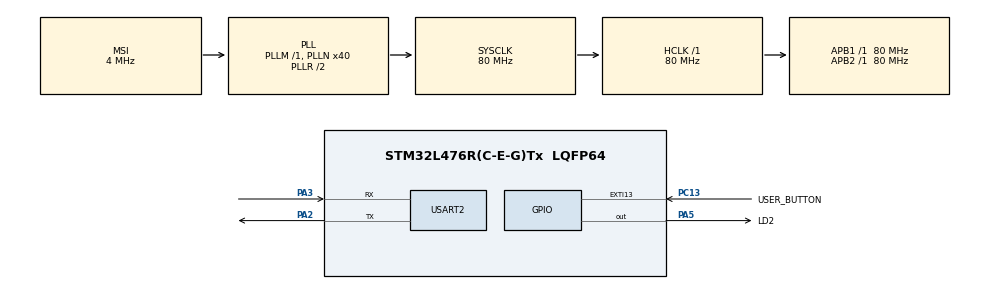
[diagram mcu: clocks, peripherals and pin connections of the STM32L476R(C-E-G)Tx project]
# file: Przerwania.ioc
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Mcu.Family=STM32L4
Mcu.Name=STM32L476R(C-E-G)Tx
Mcu.Package=LQFP64
NVIC.EXTI15_10_IRQn=true\:8\:0\:true\:false\:true\:true\:true\:true
NVIC.PriorityGroup=NVIC_PRIORITYGROUP_4
NVIC.USART2_IRQn=true\:12\:0\:true\:false\:true\:true\:true\:true
PA13\ (JTMS-SWDIO).Mode=Serial_Wire
PA13\ (JTMS-SWDIO).Signal=SYS_JTMS-SWDIO
PA14\ (JTCK-SWCLK).Mode=Serial_Wire
PA14\ (JTCK-SWCLK).Signal=SYS_JTCK-SWCLK
PA2.Mode=Asynchronous
PA2.Signal=USART2_TX
PA3.Mode=Asynchronous
PA3.Signal=USART2_RX
PA5.GPIO_Label=LD2
PA5.Signal=GPIO_Output
PC13.GPIO_Label=USER_BUTTON
PC13.GPIO_ModeDefaultEXTI=GPIO_MODE_IT_FALLING
PC13.Signal=GPXTI13
ProjectManager.HeapSize=0x200
ProjectManager.StackSize=0x400
ProjectManager.TargetToolchain=STM32CubeIDE
RCC.AHBFreq_Value=80000000
RCC.APB1Freq_Value=80000000
RCC.APB1TimFreq_Value=80000000
RCC.APB2Freq_Value=80000000
RCC.APB2TimFreq_Value=80000000
RCC.CortexFreq_Value=80000000
RCC.HCLKFreq_Value=80000000
RCC.HSE_VALUE=8000000
RCC.HSI_VALUE=16000000
RCC.MSI_VALUE=4000000
RCC.PLLN=40
RCC.SYSCLKFreq_VALUE=80000000
RCC.SYSCLKSource=RCC_SYSCLKSOURCE_PLLCLK
RCC.VCOOutputFreq_Value=160000000
USART2.VirtualMode-Asynchronous=VM_ASYNC
board=custom

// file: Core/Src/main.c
/* USER CODE BEGIN Header */
/**
  ******************************************************************************
  * @file           : main.c
  * @brief          : Main program body
  ******************************************************************************
  * @attention
  *
  * Copyright (c) 2024 STMicroelectronics.
  * All rights reserved.
  *
  * This software is licensed under terms that can be found in the LICENSE file
  * in the root directory of this software component.
  * If no LICENSE file comes with this software, it is provided AS-IS.
  *
  ******************************************************************************
  */
/* USER CODE END Header */
#include "main.h"

/* USER CODE BEGIN Includes */
#include <stdio.h>

/* USER CODE END Includes */

UART_HandleTypeDef huart2;

void SystemClock_Config(void);
static void MX_GPIO_Init(void);
static void MX_USART2_UART_Init(void);

/* USER CODE BEGIN 0 */
volatile uint32_t push_counter;

void HAL_GPIO_EXTI_Callback(uint16_t GPIO_Pin)
{
  if (GPIO_Pin == USER_BUTTON_Pin) {
    push_counter++;
    printf("counter = %lu\n", push_counter);

    //niepoprawna funkcja w przerwaniu, zawiesza działanie całego procesora
    //HAL_Delay(100);

    //próbujemy więc inaczej. Niby działa, ale zawiesza też inne przerwania - doda LD2 przestaje na chwilę migać
    volatile uint32_t delay;
        for (delay = 0; delay < 1000000; delay++);

    // zmieniamy więc prirytet przerwań zegara systemowego i przycisku
  }
}

int __io_putchar(int ch)
{
  if (ch == '\n') {
    __io_putchar('\r');
  }

  HAL_UART_Transmit(&huart2, (uint8_t*)&ch, 1, HAL_MAX_DELAY);

  return 1;
}

//wywołanie funkcji przy końcu tranmisji UART, przy ostatnim bajcie transmisji
void HAL_UART_TxCpltCallback(UART_HandleTypeDef *huart)
{
	//można by dać tu flagę, która poinformuje o zakończeniu trasmisji,
	//by móc rozpocząc następną transmisję, ale to równiez jest zła metoda

	//
	if (huart == &huart2) { //tu sprawdzenie czy na pewno jest to przerwanie od USART2
	    send_next_message();
	  }

}

typedef enum {
  MESSAGE_1,
  MESSAGE_2,
  DONE
}sender_state;

sender_state message_number = MESSAGE_1;

void send_next_message(void)
{
  static char message[] = "Hello World!\r\n";
  static char message2[] = "Forbot jest super!\r\n";

  switch (message_number)
  {
  case MESSAGE_1:
    HAL_UART_Transmit_IT(&huart2, (uint8_t*)message, strlen(message));
    message_number = MESSAGE_2;
    break;
  case MESSAGE_2:
    HAL_UART_Transmit_IT(&huart2, (uint8_t*)message2, strlen(message2));
    message_number = DONE;
    break;
  default:
    break;
  }
}

//problemy z buforem jeśli zmienne message będą bez atrybutu static
void test() {
  volatile char x[] = "abcdefghijkmnopq";
  //USART pracuje w pezerwaniu więc taka zmienan lokalna,
  //która juuż ie jest na stosie i zostaje zwolniona, może zaburzyć działanie kodu
  //dlatego do transmisji nalezy używać jedynie zmiennych globalnych bądź statycznych
}

//odbieranie danych
#define LINE_MAX_LENGTH 80

static char line_buffer[LINE_MAX_LENGTH + 1];
static uint32_t line_length;

void line_append(uint8_t value)
{
  if (value == '\r' || value == '\n') {
    // odebraliśmy znak końca linii
    if (line_length > 0) {
      // dodajemy 0 na końcu linii
      line_buffer[line_length] = '\0';
      // przetwarzamy dane
      if (strcmp(line_buffer, "on") == 0) {
        HAL_GPIO_WritePin(LD2_GPIO_Port, LD2_Pin, GPIO_PIN_SET);
      } else if (strcmp(line_buffer, "off") == 0) {
        HAL_GPIO_WritePin(LD2_GPIO_Port, LD2_Pin, GPIO_PIN_RESET);
      }

      // zaczynamy zbieranie danych od nowa
      line_length = 0;
    }
  }
  else {
    if (line_length >= LINE_MAX_LENGTH) {
      // za dużo danych, usuwamy wszystko co odebraliśmy dotychczas
      line_length = 0;
    }
    // dopisujemy wartość do bufora
    line_buffer[line_length++] = value;
  }
}

//oraz obsługa przerwania
uint8_t uart_rx_buffer;

void HAL_UART_RxCpltCallback(UART_HandleTypeDef *huart)
{
  if (huart == &huart2) { //sprawdzenie linii USART
    line_append(uart_rx_buffer);
    HAL_UART_Receive_IT(&huart2, &uart_rx_buffer, 1);
  }
}

/* USER CODE END 0 */

int main(void)
{

  /* MCU Configuration--------------------------------------------------------*/

  /* Reset of all peripherals, Initializes the Flash interface and the Systick. */
  HAL_Init();

  /* Configure the system clock */
  SystemClock_Config();

  /* Initialize all configured peripherals */
  MX_GPIO_Init();
  MX_USART2_UART_Init();
  /* USER CODE BEGIN 2 */

  /*
  // przerwanie na UART, funkcja szybciej konczy swoje działanie
  //i wysyła dane w tle przy pomocy przerwań, nie zatrzymując działania programu
  char message[] = "Hello World!\r\n";
  HAL_UART_Transmit_IT(&huart2, (uint8_t*)message, strlen(message));

  // ma to swoją wadę. Nic się nie zdarzy bo poprzednia funkcja
  //nie zakończyła jeszcze wysyłania swojego komunikatu
  char message2[] = "Forbot jest super!\r\n";
  HAL_UART_Transmit_IT(&huart2, (uint8_t*)message2, strlen(message2));
   */

  // wszystko będzie działać, ale nieprawidłowe wywołanie Error_Handler
  //oraz bezsensowne dodanie opóźnienia by wszystko działało
  /*
  char message[] = "Hello World!\r\n";
  if (HAL_UART_Transmit_IT(&huart2, (uint8_t*)message, strlen(message)) != HAL_OK) {
    Error_Handler();
  }

  // Uwaga! nie kasować!
  // nie wiem dlaczego to jest potrzebne, ale po usunięciu program nie działa
  HAL_Delay(100);

  char message2[] = "Forbot jest super!\r\n";
  if (HAL_UART_Transmit_IT(&huart2, (uint8_t*)message2, strlen(message2)) != HAL_OK) {
    Error_Handler();
  }
  */

  //DOBRE
  send_next_message();
  // tetst zaburzania programu przy deklarowaniu zmiennych lokalnych zamiast statycznych lub globalnych,
  //wykorzystaniu przerwań w wysłaniu
  //test();

  //odbieranie danych
  HAL_UART_Receive_IT(&huart2, &uart_rx_buffer, 1);

  /* USER CODE END 2 */

  /* Infinite loop */
  /* USER CODE BEGIN WHILE */
  uint32_t old_push_counter = push_counter;

  while (1)
  {
	  //przerwanie w funkcji SysTick - Dioda świeci co 100 ms (co 100 zliczeń zegara). W pliku: stm32l4xx_it.c
	  //timer SysTick generuje przerwanie tylko co 1ms
	  //printf("systick = %lu\n", HAL_GetTick());

	  //przerwanie zewnętrzne na przycisku
	  /*if (old_push_counter != push_counter) {
	        old_push_counter = push_counter;
	        printf("counter = %lu\n", old_push_counter);
	  }*/

	  // to samo przerwanie, ale kod w funkcji wyżej,  bezpośrednio w przerwaniu. Pusta pętla while

	  // później także odbieranie danych w przerwaniu

	  //sekudnik
	  printf("%d\n", HAL_GetTick()/1000);

    /* USER CODE END WHILE */

  }
}

void SystemClock_Config(void)
{
  RCC_OscInitTypeDef RCC_OscInitStruct = {0};
  RCC_ClkInitTypeDef RCC_ClkInitStruct = {0};

  /** Configure the main internal regulator output voltage
  */
  if (HAL_PWREx_ControlVoltageScaling(PWR_REGULATOR_VOLTAGE_SCALE1) != HAL_OK)
  {
    Error_Handler();
  }

  /** Initializes the RCC Oscillators according to the specified parameters
  * in the RCC_OscInitTypeDef structure.
  */
  RCC_OscInitStruct.OscillatorType = RCC_OSCILLATORTYPE_MSI;
  RCC_OscInitStruct.MSIState = RCC_MSI_ON;
  RCC_OscInitStruct.MSICalibrationValue = 0;
  RCC_OscInitStruct.MSIClockRange = RCC_MSIRANGE_6;
  RCC_OscInitStruct.PLL.PLLState = RCC_PLL_ON;
  RCC_OscInitStruct.PLL.PLLSource = RCC_PLLSOURCE_MSI;
  RCC_OscInitStruct.PLL.PLLM = 1;
  RCC_OscInitStruct.PLL.PLLN = 40;
  RCC_OscInitStruct.PLL.PLLP = RCC_PLLP_DIV7;
  RCC_OscInitStruct.PLL.PLLQ = RCC_PLLQ_DIV2;
  RCC_OscInitStruct.PLL.PLLR = RCC_PLLR_DIV2;
  if (HAL_RCC_OscConfig(&RCC_OscInitStruct) != HAL_OK)
  {
    Error_Handler();
  }

  /** Initializes the CPU, AHB and APB buses clocks
  */
  RCC_ClkInitStruct.ClockType = RCC_CLOCKTYPE_HCLK|RCC_CLOCKTYPE_SYSCLK
                              |RCC_CLOCKTYPE_PCLK1|RCC_CLOCKTYPE_PCLK2;
  RCC_ClkInitStruct.SYSCLKSource = RCC_SYSCLKSOURCE_PLLCLK;
  RCC_ClkInitStruct.AHBCLKDivider = RCC_SYSCLK_DIV1;
  RCC_ClkInitStruct.APB1CLKDivider = RCC_HCLK_DIV1;
  RCC_ClkInitStruct.APB2CLKDivider = RCC_HCLK_DIV1;

  if (HAL_RCC_ClockConfig(&RCC_ClkInitStruct, FLASH_LATENCY_4) != HAL_OK)
  {
    Error_Handler();
  }
}

static void MX_USART2_UART_Init(void)
{

  huart2.Instance = USART2;
  huart2.Init.BaudRate = 115200;
  huart2.Init.WordLength = UART_WORDLENGTH_8B;
  huart2.Init.StopBits = UART_STOPBITS_1;
  huart2.Init.Parity = UART_PARITY_NONE;
  huart2.Init.Mode = UART_MODE_TX_RX;
  huart2.Init.HwFlowCtl = UART_HWCONTROL_NONE;
  huart2.Init.OverSampling = UART_OVERSAMPLING_16;
  huart2.Init.OneBitSampling = UART_ONE_BIT_SAMPLE_DISABLE;
  huart2.AdvancedInit.AdvFeatureInit = UART_ADVFEATURE_NO_INIT;
  if (HAL_UART_Init(&huart2) != HAL_OK)
  {
    Error_Handler();
  }

}

static void MX_GPIO_Init(void)
{
  GPIO_InitTypeDef GPIO_InitStruct = {0};

  /* GPIO Ports Clock Enable */
  __HAL_RCC_GPIOC_CLK_ENABLE();
  __HAL_RCC_GPIOA_CLK_ENABLE();

  /*Configure GPIO pin Output Level */
  HAL_GPIO_WritePin(LD2_GPIO_Port, LD2_Pin, GPIO_PIN_RESET);

  /*Configure GPIO pin : USER_BUTTON_Pin */
  GPIO_InitStruct.Pin = USER_BUTTON_Pin;
  GPIO_InitStruct.Mode = GPIO_MODE_IT_FALLING;
  GPIO_InitStruct.Pull = GPIO_NOPULL;
  HAL_GPIO_Init(USER_BUTTON_GPIO_Port, &GPIO_InitStruct);

  /*Configure GPIO pin : LD2_Pin */
  GPIO_InitStruct.Pin = LD2_Pin;
  GPIO_InitStruct.Mode = GPIO_MODE_OUTPUT_PP;
  GPIO_InitStruct.Pull = GPIO_NOPULL;
  GPIO_InitStruct.Speed = GPIO_SPEED_FREQ_LOW;
  HAL_GPIO_Init(LD2_GPIO_Port, &GPIO_InitStruct);

  /* EXTI interrupt init*/
  HAL_NVIC_SetPriority(EXTI15_10_IRQn, 8, 0);
  HAL_NVIC_EnableIRQ(EXTI15_10_IRQn);

}

void Error_Handler(void)
{
  __disable_irq();
  while (1)
  {
  }
}
